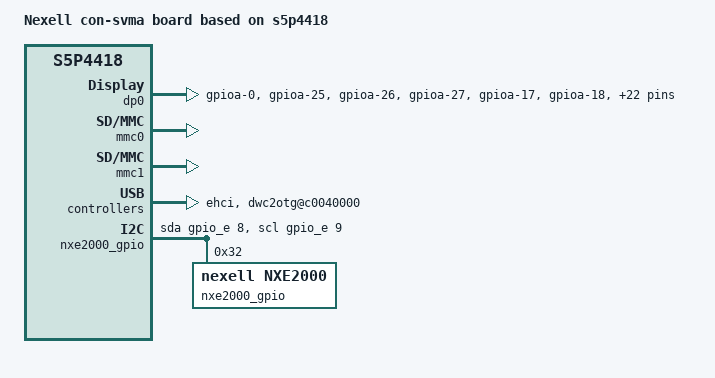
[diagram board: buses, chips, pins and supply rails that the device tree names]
/*
 * (C) Copyright 2016 Nexell
 * Youngbok, Park <park@nexell.co.kr>
 *
 * SPDX-License-Identifier:      GPL-2.0+
 */

/dts-v1/;
#include "s5p4418.dtsi"

/ {
	model = "Nexell con-svma board based on s5p4418";
	cpu-model = "S5p4418";

	compatible = "nexell,s5p4418";

	pinctrl@C0010000 {
		/delete-node/ gmac_txd;
		/delete-node/ gmac_rxd;
		/delete-node/ gmac_txen;
		/delete-node/ gmac_mdc;
		/delete-node/ gmac_mdio;
		/delete-node/ gmac_rxclk;
		/delete-node/ gmac_txclk;

		dp_rgb_vclk: dp-rgb-vclk {
			nexell,pins = "gpioa-0";
			nexell,pin-function = <1>;
			nexell,pin-pull = <2>;
			nexell,pin-strength = <0>;
		};

		dp_rgb_vsync: dp-rgb-vsync {
			nexell,pins = "gpioa-25";
			nexell,pin-function = <1>;
			nexell,pin-pull = <2>;
			nexell,pin-strength = <0>;
		};

		dp_rgb_hsync: dp-rgb-hsync {
			nexell,pins = "gpioa-26";
			nexell,pin-function = <1>;
			nexell,pin-pull = <2>;
			nexell,pin-strength = <0>;
		};

		dp_rgb_de: dp-rgb-de {
			nexell,pins = "gpioa-27";
			nexell,pin-function = <1>;
			nexell,pin-pull = <2>;
			nexell,pin-strength = <0>;
		};

		dp_rgb_B: dp-rgb-B {
			nexell,pins = "gpioa-1", "gpioa-2", "gpioa-3", "gpioa-4",
				      "gpioa-5", "gpioa-6", "gpioa-7", "gpioa-8";
			nexell,pin-function = <1>;
			nexell,pin-pull = <2>;
			nexell,pin-strength = <0>;
		};

		dp_rgb_G: dp-rgb-G {
			nexell,pins = "gpioa-9", "gpioa-10", "gpioa-11", "gpioa-12",
				      "gpioa-13", "gpioa-14", "gpioa-15", "gpioa-16";
			nexell,pin-function = <1>;
			nexell,pin-pull = <2>;
			nexell,pin-strength = <0>;
		};

		dp_rgb_R: dp-rgb-R {
			nexell,pins = "gpioa-17", "gpioa-18", "gpioa-19", "gpioa-20",
				      "gpioa-21", "gpioa-22", "gpioa-23", "gpioa-24";
			nexell,pin-function = <1>;
			nexell,pin-pull = <2>;
			nexell,pin-strength = <0>;
		};
		
		/* MMC0 */
/*		
		sdmmc0_cclk: sdmmc0-cclk {
			nexell,pins = "gpioa-29";
			nexell,pin-function = <1>;
			nexell,pin-pull = <2>;
			nexell,pin-strength = <2>;
		};

		sdmmc0_cmd: sdmmc0-cmd {
			nexell,pins = "gpioa-31";
			nexell,pin-function = <1>;
			nexell,pin-pull = <2>;
			nexell,pin-strength = <2>;
		};

		sdmmc0_bus4: sdmmc0-bus-width4 {
			nexell,pins = "gpiob-1", "gpiob-3", "gpiob-5", "gpiob-7";
			nexell,pin-function = <1>;
			nexell,pin-pull = <2>;
			nexell,pin-strength = <2>;
		};
*/		
	};

	dp0:dp@c0102800 {
		#address-cells = <1>;
		#size-cells = <0>;
		compatible = "nexell,nexell-display";
		reg = <0xc0102800 0x100>;
		index = <0>;
		status = "okay";

		module = <0>;
		lcd-type = "rgb";

		pinctrl-names = "default";
		pinctrl-0 = <&dp_rgb_vclk &dp_rgb_vsync &dp_rgb_hsync
			&dp_rgb_de &dp_rgb_R &dp_rgb_G &dp_rgb_B>;
		/* enable-gpios = <&gpio_c 2 0>; */

		dp-device {
			format = <0>;
		};

		dp-sync {
			h_active_len = <1920>;
			h_front_porch = <30>;
			h_back_porch = <30>;
			h_sync_width = <4>;

			v_active_len = <720>;
			v_front_porch = <10>;
			v_back_porch = <10>;
			v_sync_width = <2>;

			h_sync_invert = <1>;
			v_sync_invert = <1>;
			pixelclk-active = <1>;
			de-active = <1>;
		};

		dp-ctrl {
			clk_src_lv0 = <3>;
			clk_div_lv0 = <10>;
			clk_src_lv1 = <7>;
			clk_div_lv1 = <1>;
			out_format = <3>;
		};

		dp-planes {
			layer_top {
				screen_width = <1920>;
				screen_height = <720>;
				back_color = <0x0>;
			};

			layer_1 {
				fb_base = <0x7E000000>;
				width = <1920>;
				height = <720>;
				format = <0x06530000>;
				pixel_byte = <4>;
			};
		};
	};

	mmc0:mmc@c0062000 {
		nexell,drive_dly = <0x00>;
		nexell,drive_shift = <0x02>;
		nexell,sample_dly = <0x00>;
		nexell,sample_shift = <0x01>;
		frequency = <50000000>;
		status = "okay";
	};

	mmc1:mmc@c0068000 {
		nexell,drive_dly = <0x0>;
		nexell,drive_shift = <0x03>;
		nexell,sample_dly = <0x00>;
		nexell,sample_shift = <0x02>;
		frequency = <50000000>;
		status ="okay";
	};

	ehci:usbhost@c0030000 {
		status = "okay";
	};

	dwc2otg@c0040000 {
		status = "okay";
	};

	nxe2000_gpio:i2c_gpio@0 {
		compatible = "i2c-gpio";
		#address-cells = <1>;
		#size-cells = <0>;
		gpios = <&gpio_e 8 1>,	/* SDA */
		      <&gpio_e 9 1>;	/* SCL */

		i2c-gpio,delay-us = <3>;
		nxe2000_gpio@32 {
			compatible = "nexell,nxe2000";
			reg = <0x32>;
		};
	};

	voltage-regulators {
		dcdc0: BUCK0 {
			regulator-name = "dcdc1";
			regulator-min-microvolt = <600000>;
			regulator-max-microvolt = <3500000>;
			regulator-always-on = <1>;
			regulator-boot-on = <1>;
		};

		dcdc1: BUCK1 {
			regulator-name = "dcdc2";
			regulator-min-microvolt = <600000>;
			regulator-max-microvolt = <3500000>;
			regulator-always-on = <1>;
			regulator-boot-on = <1>;
		};

		dcdc2: BUCK2 {
			regulator-name = "dcdc3";
			regulator-min-microvolt = <600000>;
			regulator-max-microvolt = <3500000>;
			regulator-always-on = <1>;
			regulator-boot-on = <1>;
		};

		dcdc3: BUCK3 {
			regulator-name = "dcdc4";
			regulator-min-microvolt = <600000>;
			regulator-max-microvolt = <3500000>;
			regulator-always-on = <1>;
			regulator-boot-on = <1>;
		};

		dcdc4: BUCK4 {
			regulator-name = "dcdc5";
			regulator-min-microvolt = <600000>;
			regulator-max-microvolt = <3500000>;
			regulator-always-on = <1>;
			regulator-boot-on = <1>;
		};

		ldo0: LDO0 {
			regulator-min-microvolt = <900000>;
			regulator-max-microvolt = <3500000>;
			regulator-name = "ldo1";
		};

		ldo1: LDO1 {
			regulator-min-microvolt = <900000>;
			regulator-max-microvolt = <3500000>;
			regulator-name = "ldo2";
		};

		ldo2: LDO2 {
			regulator-min-microvolt = <900000>;
			regulator-max-microvolt = <3500000>;
			regulator-name = "ldo3";
		};

		ldo3: LDO3 {
			regulator-min-microvolt = <900000>;
			regulator-max-microvolt = <3500000>;
			regulator-name = "ldo4";
		};

		ldo4: LDO4 {
			regulator-min-microvolt = <600000>;
			regulator-max-microvolt = <3500000>;
			regulator-name = "ldo5";
		};

		ldo5: LDO5 {
			regulator-min-microvolt = <600000>;
			regulator-max-microvolt = <3500000>;
			regulator-name = "ldo6";
			regulator-always-on = <1>;
			regulator-boot-on = <1>;
		};

		ldo6: LDO6 {
			regulator-min-microvolt = <900000>;
			regulator-max-microvolt = <3500000>;
			regulator-name = "ldo7";
		};

		ldo7: LDO7 {
			regulator-min-microvolt = <900000>;
			regulator-max-microvolt = <3500000>;
			regulator-name = "ldo8";
		};

		ldo8: LDO8 {
			regulator-min-microvolt = <900000>;
			regulator-max-microvolt = <3500000>;
			regulator-name = "ldo9";
		};

		ldo9: LDO9 {
			regulator-min-microvolt = <900000>;
			regulator-max-microvolt = <3500000>;
			regulator-name = "ldo10";
		};

		ldortc1: LDO10 {
			regulator-min-microvolt = <1700000>;
			regulator-max-microvolt = <3500000>;
			regulator-name = "ldortc1";
			regulator-always-on = <1>;
			regulator-boot-on = <1>;
		};

		ldortc2: LDO11 {
			regulator-min-microvolt = <1700000>;
			regulator-max-microvolt = <3500000>;
			regulator-name = "ldortc2";
			regulator-always-on = <1>;
			regulator-boot-on = <1>;
		};
	}; /* voltage-regulators */
};
